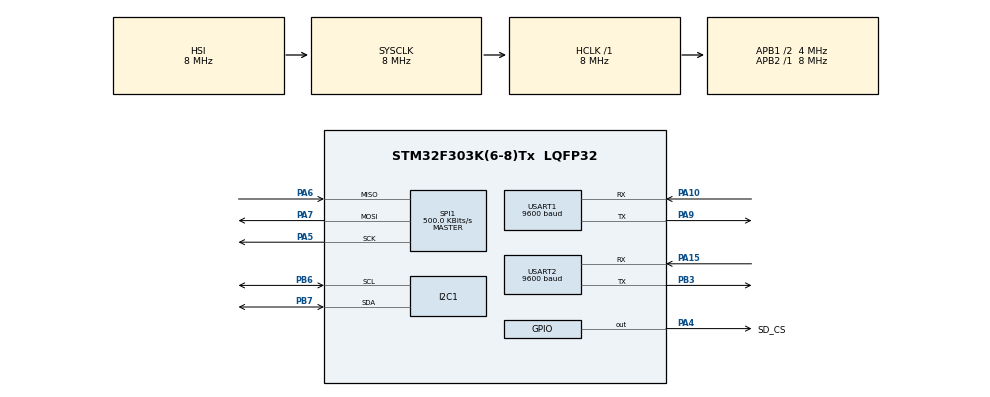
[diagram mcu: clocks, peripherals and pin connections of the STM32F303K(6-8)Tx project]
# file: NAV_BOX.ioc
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Dma.I2C1_RX.3.Direction=DMA_PERIPH_TO_MEMORY
Dma.I2C1_RX.3.Instance=DMA1_Channel3
Dma.I2C1_RX.3.MemDataAlignment=DMA_MDATAALIGN_BYTE
Dma.I2C1_RX.3.MemInc=DMA_MINC_ENABLE
Dma.I2C1_RX.3.Mode=DMA_NORMAL
Dma.I2C1_RX.3.PeriphDataAlignment=DMA_PDATAALIGN_BYTE
Dma.I2C1_RX.3.PeriphInc=DMA_PINC_DISABLE
Dma.I2C1_RX.3.Priority=DMA_PRIORITY_HIGH
Dma.I2C1_TX.4.Direction=DMA_MEMORY_TO_PERIPH
Dma.I2C1_TX.4.Instance=DMA1_Channel2
Dma.I2C1_TX.4.MemDataAlignment=DMA_MDATAALIGN_BYTE
Dma.I2C1_TX.4.MemInc=DMA_MINC_ENABLE
Dma.I2C1_TX.4.Mode=DMA_NORMAL
Dma.I2C1_TX.4.PeriphDataAlignment=DMA_PDATAALIGN_BYTE
Dma.I2C1_TX.4.PeriphInc=DMA_PINC_DISABLE
Dma.I2C1_TX.4.Priority=DMA_PRIORITY_LOW
Dma.Request0=USART1_RX
Dma.Request1=USART2_TX
Dma.Request2=USART2_RX
Dma.Request3=I2C1_RX
Dma.Request4=I2C1_TX
Dma.USART1_RX.0.Direction=DMA_PERIPH_TO_MEMORY
Dma.USART1_RX.0.Instance=DMA1_Channel5
Dma.USART1_RX.0.MemDataAlignment=DMA_MDATAALIGN_BYTE
Dma.USART1_RX.0.MemInc=DMA_MINC_ENABLE
Dma.USART1_RX.0.Mode=DMA_NORMAL
Dma.USART1_RX.0.PeriphDataAlignment=DMA_PDATAALIGN_BYTE
Dma.USART1_RX.0.PeriphInc=DMA_PINC_DISABLE
Dma.USART1_RX.0.Priority=DMA_PRIORITY_VERY_HIGH
Dma.USART2_RX.2.Direction=DMA_PERIPH_TO_MEMORY
Dma.USART2_RX.2.Instance=DMA1_Channel6
Dma.USART2_RX.2.MemDataAlignment=DMA_MDATAALIGN_BYTE
Dma.USART2_RX.2.MemInc=DMA_MINC_ENABLE
Dma.USART2_RX.2.Mode=DMA_NORMAL
Dma.USART2_RX.2.PeriphDataAlignment=DMA_PDATAALIGN_BYTE
Dma.USART2_RX.2.PeriphInc=DMA_PINC_DISABLE
Dma.USART2_RX.2.Priority=DMA_PRIORITY_LOW
Dma.USART2_TX.1.Direction=DMA_MEMORY_TO_PERIPH
Dma.USART2_TX.1.Instance=DMA1_Channel7
Dma.USART2_TX.1.MemDataAlignment=DMA_MDATAALIGN_BYTE
Dma.USART2_TX.1.MemInc=DMA_MINC_ENABLE
Dma.USART2_TX.1.Mode=DMA_NORMAL
Dma.USART2_TX.1.PeriphDataAlignment=DMA_PDATAALIGN_BYTE
Dma.USART2_TX.1.PeriphInc=DMA_PINC_DISABLE
Dma.USART2_TX.1.Priority=DMA_PRIORITY_LOW
FATFS._USE_FORWARD=1
FATFS._USE_LABEL=1
I2C1.Timing=0x00201D2B
Mcu.Family=STM32F3
Mcu.Name=STM32F303K(6-8)Tx
Mcu.Package=LQFP32
NVIC.DMA1_Channel2_IRQn=true\:0\:0\:false\:false\:true\:false\:true\:true
NVIC.DMA1_Channel3_IRQn=true\:0\:0\:false\:false\:true\:false\:true\:true
NVIC.DMA1_Channel5_IRQn=true\:0\:0\:false\:false\:true\:false\:true\:true
NVIC.DMA1_Channel6_IRQn=true\:0\:0\:false\:false\:true\:false\:true\:true
NVIC.DMA1_Channel7_IRQn=true\:0\:0\:false\:false\:true\:false\:true\:true
NVIC.I2C1_ER_IRQn=true\:0\:0\:false\:false\:true\:true\:true\:true
NVIC.I2C1_EV_IRQn=true\:0\:0\:false\:false\:true\:true\:true\:true
NVIC.PriorityGroup=NVIC_PRIORITYGROUP_4
NVIC.USART1_IRQn=true\:0\:0\:false\:false\:true\:true\:true\:true
NVIC.USART2_IRQn=true\:0\:0\:false\:false\:true\:true\:true\:true
PA10.Mode=Asynchronous
PA10.Signal=USART1_RX
PA13.GPIO_Label=SWDIO
PA13.Mode=Serial_Wire
PA13.Signal=SYS_JTMS-SWDIO
PA14.GPIO_Label=SWCLK
PA14.Mode=Serial_Wire
PA14.Signal=SYS_JTCK-SWCLK
PA15.Mode=Asynchronous
PA15.Signal=USART2_RX
PA4.GPIO_Label=SD_CS
PA4.GPIO_PuPd=GPIO_PULLDOWN
PA4.Signal=GPIO_Output
PA5.Mode=Full_Duplex_Master
PA5.Signal=SPI1_SCK
PA6.Mode=Full_Duplex_Master
PA6.Signal=SPI1_MISO
PA7.Mode=Full_Duplex_Master
PA7.Signal=SPI1_MOSI
PA9.Mode=Asynchronous
PA9.Signal=USART1_TX
PB3.Mode=Asynchronous
PB3.Signal=USART2_TX
PB6.Mode=I2C
PB6.Signal=I2C1_SCL
PB7.Mode=I2C
PB7.Signal=I2C1_SDA
PF0\ /\ OSC_IN.GPIO_Label=MCO
PF0\ /\ OSC_IN.Mode=HSE-External-Oscillator
PF0\ /\ OSC_IN.Signal=RCC_OSC_IN
PF1\ /\ OSC_OUT.Mode=HSE-External-Oscillator
PF1\ /\ OSC_OUT.Signal=RCC_OSC_OUT
ProjectManager.HeapSize=0x200
ProjectManager.StackSize=0x400
ProjectManager.TargetToolchain=STM32CubeIDE
RCC.AHBFreq_Value=8000000
RCC.APB1CLKDivider=RCC_HCLK_DIV2
RCC.APB1Freq_Value=4000000
RCC.APB1TimFreq_Value=8000000
RCC.APB2Freq_Value=8000000
RCC.APB2TimFreq_Value=8000000
RCC.CortexFreq_Value=8000000
RCC.HCLKFreq_Value=8000000
RCC.HSE_VALUE=8000000
RCC.HSI_VALUE=8000000
RCC.PLLMUL=RCC_PLL_MUL9
RCC.PLLSourceVirtual=RCC_PLLSOURCE_HSE
RCC.SYSCLKFreq_VALUE=8000000
SPI1.BaudRatePrescaler=SPI_BAUDRATEPRESCALER_16
SPI1.CLKPolarity=SPI_POLARITY_LOW
SPI1.CalculateBaudRate=500.0 KBits/s
SPI1.DataSize=SPI_DATASIZE_8BIT
SPI1.Direction=SPI_DIRECTION_2LINES
SPI1.Mode=SPI_MODE_MASTER
SPI1.VirtualType=VM_MASTER
USART1.BaudRate=9600
USART1.VirtualMode-Asynchronous=VM_ASYNC
USART2.BaudRate=9600
USART2.VirtualMode-Asynchronous=VM_ASYNC
VP_CRC_VS_CRC.Mode=CRC_Activate
VP_FATFS_VS_Generic.Mode=User_defined
board=NUCLEO-F303K8

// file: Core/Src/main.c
/* USER CODE BEGIN Header */
/**
 ******************************************************************************
 * @file           : main.c
 * @brief          : Main program body
 ******************************************************************************
 * @attention
 *
 * Copyright (c) 2025 STMicroelectronics.
 * All rights reserved.
 *
 * This software is licensed under terms that can be found in the LICENSE file
 * in the root directory of this software component.
 * If no LICENSE file comes with this software, it is provided AS-IS.
 *
 ******************************************************************************
 */
/* USER CODE END Header */
#include "main.h"

/* USER CODE BEGIN Includes */
//#include "string.h"
//#include "stdbool.h"
#include "stdlib.h"
#include "stdio.h"
#include <stdio.h>
#include <string.h>

//include netbuilt librarys
//#include "nmea_parse.h"
#include "bno055.h"
#include "bmp180_for_stm32_hal.h"
#include "ubx_nav_sol.h"
#include "nslp_dma.h"
#include "micros.h"

//homebrewed libraries
#include "nslp_packets.h"
#include "sd_black_box.h"

//#include <math.h>

/* USER CODE END Includes */

/* USER CODE BEGIN PD */
//#define SD_SPI_HANDLE hspi1
/* USER CODE END PD */

CRC_HandleTypeDef hcrc;

I2C_HandleTypeDef hi2c1;
DMA_HandleTypeDef hdma_i2c1_rx;
DMA_HandleTypeDef hdma_i2c1_tx;

SPI_HandleTypeDef hspi1;

UART_HandleTypeDef huart1;
UART_HandleTypeDef huart2;
DMA_HandleTypeDef hdma_usart1_rx;
DMA_HandleTypeDef hdma_usart2_tx;
DMA_HandleTypeDef hdma_usart2_rx;

/* USER CODE BEGIN PV */
//-------------------------DEBUG--------------------
uint8_t d_checker;

//-------------------------------BMP180---------------------------------------------
float temperature;
int32_t pressure;
uint32_t BMP180_time;
#define BMP180_interval 1000 // 1 second interval in milliseconds
bool to_send_BMP180_nslp_flag = false;
//-------------------------------BMP180---------------------------------------------

//-------------------------------BNO055---------------------------------------------
bno055_t bno;

bno055_vec3_t accel;
bno055_vec3_t filtered_accel;
bno055_vec4_t quat;
bno055_euler_t euler;

int32_t BNO055_timeStamp; //timestamp of the frame that was last parsed
uint32_t bno_i2c_errors; //failed BNO055 I2C transactions (frame skipped, nothing to log), for debugging

bool to_send_imu_nslp_flag = false;

//-------------------------------BNO055---------------------------------------------

//-------------------------------GPS------------------------------------------------
#define rx_buffer_size 60 //GPS uart 1 recieve NAV-SOL packed size
uint8_t rx_buffer[rx_buffer_size]; //size of data recieved from GPS
UBX_NavSol rawData; //raw gps data from parsing the rx_buffer
UBX_NavSolData solData; // organized and converted gps data
uint32_t GPS_timeStamp; //timestamp of processing

bool gps_dma_data_ready = false;
bool to_send_gps_nslp_flag = false;
//-------------------------------GPS------------------------------------------------

//--------------------------NSLP----------------------------------------------------
/*
 * Match this to recieving end of NSLP debugger
 * Software: -->NSLP Trace<--
 *
 *It this struct define the data you want to send from the STM machine
 */
nslp_instance_t nslp;
//uint8_t tx_buffer[sizeof(struct Position)]; //transmission size of message
//--------------------------NSLP--------------------------------------------

//---------------------------SD CARD----------------------------
char log_filename[64] = "DATA_LOG"; // Default log filename
char sd_gps_buffer[128]; // Buffer for GPS data to be written to SD card
//%G,Time,Timestamp,FixType,NumSV,Lat,Lon,Alt
bool sd_gps_store_flag = false;
char sd_bmp_buffer[128]; // Buffer for BMP180 data to be written to SD card
//%B,Temp,Press,Timestamp
bool sd_bmp_store_flag = false;
char sd_bno_buffer[128]; // Buffer for BNO055 data to be written to SD cardy
//%I,Ax,Ay,Az,Gx,Gy,Gz,Timestamp
bool sd_bno_store_flag = false;
//---------------------------SD CARD----------------------------

/* USER CODE END PV */

void SystemClock_Config(void);
static void MX_GPIO_Init(void);
static void MX_DMA_Init(void);
static void MX_USART1_UART_Init(void);
static void MX_USART2_UART_Init(void);
static void MX_I2C1_Init(void);
static void MX_CRC_Init(void);
static void MX_SPI1_Init(void);
/* USER CODE BEGIN PFP */

//----------------------------------INTERUPTS FUNCTIONS---------------------------------------------
//The BNO055 is read with blocking I2C transactions (see bno_read_frame), no I2C DMA callbacks are needed.

void HAL_UART_ErrorCallback(UART_HandleTypeDef *huart) {
	nslp_uart_error_handler(huart);
}

void HAL_UARTEx_RxEventCallback(UART_HandleTypeDef *huart, uint16_t Size) {

  //gps uart handler
	if (huart->Instance == USART1)//Check which interupt was triggered for / on uart1 line connected to GPS
	{
		GPS_timeStamp = HAL_GetTick();
    /*
      check if are still parsing last packet
      only clear flag to reparse if last packet had been parsed
    */
    if (gps_dma_data_ready == false) {
      gps_dma_data_ready = true;

      //if LAST package had not been parsed yet, this is an ERROR !!!
    }

		/* restart the DMA  */
		HAL_UARTEx_ReceiveToIdle_DMA(&huart1, (uint8_t *) rx_buffer, sizeof(rx_buffer)); //Restart interupt
		__HAL_DMA_DISABLE_IT(&hdma_usart1_rx, DMA_IT_HT); //Dont interupt on half buffer
	}

  //seperate nslp handler
	nslp_uart_rx_event_handler(huart, Size);
}

void HAL_UART_TxCpltCallback(UART_HandleTypeDef *huart){
	nslp_uart_tx_cplt_handler(huart);
}

//------------------------------USER FUNCTIONS------------------------------

/*
  BNO055 read: one blocking 2-byte transaction per 16-bit value (euler + linear accel).

  Reading the output registers as one 45-byte burst (the old DMA read) returned bit 7 of some bytes
  as 0 in 3-6 % of the frames (registers 0x1C, 0x2A, 0x2C, e.g. +327.68 m/s^2, +2048 deg, -8 deg).
  Neither I2C speed, filters, pull-ups, DMA vs polling nor activity of the other peripherals changed that,
  but 1- and 2-byte transactions gave 0 errors in > 17000 frames. Burst sizes of 6 bytes or more are not clean.
  Offsets are relative to BNO_ACC_DATA_X_LSB (index into bno.rx_buf, same layout the bno055_get_* getters use).
*/
static const uint8_t bno_word_offset[] = {
	18, //euler heading (yaw)
	20, //euler roll
	22, //euler pitch
	32, //linear accel x
	34, //linear accel y
	36  //linear accel z
};

static bool bno_read_frame(void){
	for (uint32_t i = 0; i < sizeof(bno_word_offset); i++) {
		uint8_t off = bno_word_offset[i];
		if (HAL_I2C_Mem_Read(&hi2c1, bno.addr, (uint16_t)(BNO_ACC_DATA_X_LSB + off), I2C_MEMADD_SIZE_8BIT, &bno.rx_buf[off], 2, 100) != HAL_OK) {
			return false;
		}
	}
	return true;
}

void parse_bno055_data(){
//Data acquisition only: every frame is stored exactly as the BNO055 delivered it, no filtering or rejection

	if (!bno_read_frame()) {
		bno_i2c_errors++; //I2C transaction failed (HAL resets the bus state itself), nothing valid to log this pass
		return;
	}

	BNO055_timeStamp = HAL_GetTick(); //time the frame was read

	bno055_get_linear_acc(&bno, &accel);
	bno055_get_euler(&bno, &euler);

	to_send_imu_nslp_flag = true;

	sd_bno_store_flag = true; // Set flag to store BNO055 data to SD card
}

void poll_n_parse_bmp180_data(){
//reads pressure and temperature from BMP180 sensor every BMP180_interval
  static uint32_t lastBMP180Time = 0;

  if (HAL_GetTick() - lastBMP180Time > BMP180_interval){

      //hi2c1 is shared with the BNO055, both are blocking transactions from this main loop so they never overlap
      temperature = BMP180_GetTemperature(); //degrees Celsius
      pressure = BMP180_GetPressure(); //Pascal

      lastBMP180Time = HAL_GetTick();
      BMP180_time = lastBMP180Time;

      to_send_BMP180_nslp_flag = true;
      sd_bmp_store_flag = true; // Set flag to store BMP180 data to SD card
  }
}

void parse_gps_data(){
/*
  Parses gps data after recieved_GPS_flag flag is cleared
  parsed gps data is stored in -> solData <-
*/

	if(gps_dma_data_ready == true){

		//parse check rx_buffer to usefull navigation data
      uint8_t parsecheck = UBX_ParseNavSolFrame(rx_buffer, sizeof(rx_buffer), &rawData, &solData);

		//----------------------FLAGS----------------------
      //clear flag for recieving new GPS data
      gps_dma_data_ready = false;
      sd_gps_store_flag = true; // Set flag to store GPS data to SD card (every packet, with or without a fix)
      to_send_gps_nslp_flag = true; //set flag to send gps data via NSLP
	}
}

void nslp_transmit_packets(){
/*
  transmits NSLP packets
  using nslp_min_delay for optimization of transmition time
*/

  //pass the parsed data to Position pos packet frame
  GPS_nslp_data.latitude = solData.latitude_deg;
  GPS_nslp_data.longitude = solData.longitude_deg;
  GPS_nslp_data.altitude = solData.height_m;
  GPS_nslp_data.fixType = solData.gpsFix;
  GPS_nslp_data.numSV = solData.numSV;
  GPS_nslp_data.time = GPS_timeStamp;

// Copy filtered accelerometer data to transmission structure
  BNO055_nslp_data_a.ax = accel.x;
  BNO055_nslp_data_a.ay = accel.y;
  BNO055_nslp_data_a.az = accel.z;
  BNO055_nslp_data_a.time = BNO055_timeStamp;

  BNO055_nslp_data_g.gx = euler.pitch;
  BNO055_nslp_data_g.gy = euler.roll;
  BNO055_nslp_data_g.gz = euler.yaw;
  BNO055_nslp_data_g.time = BNO055_timeStamp;

  //write data to NSLP payload
  BMP_nslp_data.temp = temperature;
  BMP_nslp_data.press = pressure;
  BMP_nslp_data.time = BMP180_time;

  static uint32_t lastTime = 0;

  //------------------------------NSLP setup for optimal comunication interval-----------------------------------
  if (HAL_GetTick() - lastTime > nslp_min_delay(&nslp)){

    //-----------------------------Send packets for NSLP----------------- START

    if((to_send_gps_nslp_flag == true)){  // Only send GPS packet if new GPS data has been parsed and is ready
      nslp_send_packet(&nslp, &GPS_packet);
      to_send_gps_nslp_flag = false;
    }

        if(to_send_imu_nslp_flag == true){
        nslp_send_packet(&nslp, &BNO_packet_a);
        nslp_send_packet(&nslp, &BNO_packet_g);
        to_send_imu_nslp_flag = false;
    }

    if(to_send_BMP180_nslp_flag == true){
        nslp_send_packet(&nslp, &BMP_packet);
        to_send_BMP180_nslp_flag = false;
    }

    // nslp_send_packet(&nslp, &POS_fusion_packet);
    //-----------------------------Send packets for NSLP----------------- END
    lastTime = HAL_GetTick();
  }
}

void sd_store(){
  uint8_t check = 0;

  if(sd_gps_store_flag == true){
    sd_gps_store_flag = false;
    snprintf(sd_gps_buffer, sizeof(sd_gps_buffer),
    "G,%d,%d,%d,%f,%f,%f \r\n",
    GPS_timeStamp, solData.gpsFix, solData.numSV, solData.latitude_deg, solData.longitude_deg, solData.height_m
    );
    //%G,Time,Timestamp,FixType,NumSV,Lat,Lon,Alt
    check = sd_card_write((const uint8_t *)sd_gps_buffer, strlen(sd_gps_buffer));
  }

  if(sd_bno_store_flag == true){
    sd_bno_store_flag = false;
    snprintf(sd_bno_buffer, sizeof(sd_bno_buffer), "I,%f,%f,%f,%f,%f,%f,%d \r\n", accel.x, accel.y, accel.z, euler.pitch, euler.roll, euler.yaw, BNO055_timeStamp);
    //%I,Ax,Ay,Az,Gx,Gy,Gz,Timestamp
    check = sd_card_write((const uint8_t *)sd_bno_buffer, strlen(sd_bno_buffer));
  }

  if(sd_bmp_store_flag == true){
    sd_bmp_store_flag = false;
    snprintf(sd_bmp_buffer, sizeof(sd_bmp_buffer), //%G,Time,Timestamp,FixType,NumSV,Lat,Lon,Alt
    "B,%f,%ld,%d \r\n",
    temperature, pressure, BMP180_time);
    //%B,Temp,Press,Timestamp
    check = sd_card_write((const uint8_t *)sd_bmp_buffer, strlen(sd_bmp_buffer));
  }

  if(check != 0){
    // Handle error in writing to SD card
    // You can add error handling code here, such as logging the error or retrying the write operation
	  //d_checker = check;
  }
}

void process_sensor_fusion(){
  /*
    Code implementation for Kalman filter data proccesing
  */
}

/* USER CODE END PFP */

int main(void)
{

  /* MCU Configuration--------------------------------------------------------*/

  /* Reset of all peripherals, Initializes the Flash interface and the Systick. */
  HAL_Init();

  /* Configure the system clock */
  SystemClock_Config();

  /* Initialize all configured peripherals */
  MX_GPIO_Init();
  MX_DMA_Init();
  MX_USART1_UART_Init();
  MX_USART2_UART_Init();
  MX_I2C1_Init();
  MX_CRC_Init();
  MX_SPI1_Init();
  MX_FATFS_Init();
  /* USER CODE BEGIN 2 */

  //innitialize library for time measurement in micros
	  DWT_Init();

	//------------------------NSLP CODE------------------------
	  nslp_init(&nslp, &huart2, &hcrc, 16, 0xAA);
	//------------------------NSLP CODE------------------------

	//----------------initialize DMA on uart1, rx for GPS-----------
    __HAL_DMA_ENABLE_IT(&hdma_usart1_rx, DMA_IT_TC | DMA_IT_HT);
    HAL_UARTEx_ReceiveToIdle_DMA(&huart1, (uint8_t *) rx_buffer, sizeof(rx_buffer));
    __HAL_DMA_DISABLE_IT(&hdma_usart1_rx,DMA_IT_HT); //DMA half transfer interupt

	//-----------Initializes BMP180 sensor and oversampling settings.------------
    BMP180_Init(&hi2c1);
  	BMP180_SetOversampling(BMP180_STANDARD); //BMP180_LOW, BMP180_STANDARD, BMP180_HIGH, BMP180_ULTRA,
	// Update calibration data. Must be called once before entering main loop.
	/*
	  The first I2C transaction after a reset sometimes fails and BMP180_ReadReg() then returns an
	  uninitialised byte (seen as a wrong AC1 on 2 of 6 boots -> pressure off by ~16 kPa for the whole run).
	  Discard a warm-up read, then read until two consecutive reads are identical.
	*/
	  BMP180_UpdateCalibrationData();
	  for (int attempt = 0; attempt < 10; attempt++) {
	    BMP180_EEPROM previous_cal = _bmp180_eeprom;
	    BMP180_UpdateCalibrationData();
	    if (memcmp(&previous_cal, &_bmp180_eeprom, sizeof(previous_cal)) == 0) {
	      break;
	    }
	  }

	//-----------innitialize BNO055 DMA on I2C------------
    bno.i2c = &hi2c1;
    bno.addr = BNO_ADDR_ALT;
    bno.mode = BNO_MODE_NDOF;
    HAL_Delay(500);
    if (bno055_init(&bno) != BNO_OK) {
      uint32_t BNO_timeout = 0;
      BNO_timeout = HAL_GetTick();
      while (HAL_GetTick() - BNO_timeout < 5000) { //wait for 5 seconds before trying to initialize again
        if (bno055_init(&bno) == BNO_OK) {
          break; //break loop if initialization is successful
        }
      }
    }

  //Set BNO055 units
    bno055_set_unit(&bno, BNO_TEMP_UNIT_C, BNO_GYR_UNIT_DPS, BNO_ACC_UNITSEL_M_S2, BNO_EUL_UNIT_DEG);

  //------------------------TEST SD CARD WRITE------------------------
    //test_sd_card_write(&huart2);

  //------------------------SD CARD INNIT-----------------------------
    sd_card_init(log_filename);

  /* USER CODE END 2 */

  /* Infinite loop */
  /* USER CODE BEGIN WHILE */
	while (1)
	{
		parse_gps_data();
		parse_bno055_data();
		poll_n_parse_bmp180_data();
		nslp_transmit_packets();
		sd_store();

    /* USER CODE END WHILE */

	}
}

void SystemClock_Config(void)
{
  RCC_OscInitTypeDef RCC_OscInitStruct = {0};
  RCC_ClkInitTypeDef RCC_ClkInitStruct = {0};
  RCC_PeriphCLKInitTypeDef PeriphClkInit = {0};

  /** Initializes the RCC Oscillators according to the specified parameters
  * in the RCC_OscInitTypeDef structure.
  */
  RCC_OscInitStruct.OscillatorType = RCC_OSCILLATORTYPE_HSI;
  RCC_OscInitStruct.HSIState = RCC_HSI_ON;
  RCC_OscInitStruct.HSICalibrationValue = RCC_HSICALIBRATION_DEFAULT;
  RCC_OscInitStruct.PLL.PLLState = RCC_PLL_NONE;
  if (HAL_RCC_OscConfig(&RCC_OscInitStruct) != HAL_OK)
  {
    Error_Handler();
  }

  /** Initializes the CPU, AHB and APB buses clocks
  */
  RCC_ClkInitStruct.ClockType = RCC_CLOCKTYPE_HCLK|RCC_CLOCKTYPE_SYSCLK
                              |RCC_CLOCKTYPE_PCLK1|RCC_CLOCKTYPE_PCLK2;
  RCC_ClkInitStruct.SYSCLKSource = RCC_SYSCLKSOURCE_HSI;
  RCC_ClkInitStruct.AHBCLKDivider = RCC_SYSCLK_DIV1;
  RCC_ClkInitStruct.APB1CLKDivider = RCC_HCLK_DIV2;
  RCC_ClkInitStruct.APB2CLKDivider = RCC_HCLK_DIV1;

  if (HAL_RCC_ClockConfig(&RCC_ClkInitStruct, FLASH_LATENCY_0) != HAL_OK)
  {
    Error_Handler();
  }
  PeriphClkInit.PeriphClockSelection = RCC_PERIPHCLK_USART1|RCC_PERIPHCLK_I2C1;
  PeriphClkInit.Usart1ClockSelection = RCC_USART1CLKSOURCE_PCLK1;
  PeriphClkInit.I2c1ClockSelection = RCC_I2C1CLKSOURCE_HSI;
  if (HAL_RCCEx_PeriphCLKConfig(&PeriphClkInit) != HAL_OK)
  {
    Error_Handler();
  }
}

static void MX_CRC_Init(void)
{

  hcrc.Instance = CRC;
  hcrc.Init.DefaultPolynomialUse = DEFAULT_POLYNOMIAL_ENABLE;
  hcrc.Init.DefaultInitValueUse = DEFAULT_INIT_VALUE_ENABLE;
  hcrc.Init.InputDataInversionMode = CRC_INPUTDATA_INVERSION_NONE;
  hcrc.Init.OutputDataInversionMode = CRC_OUTPUTDATA_INVERSION_DISABLE;
  hcrc.InputDataFormat = CRC_INPUTDATA_FORMAT_BYTES;
  if (HAL_CRC_Init(&hcrc) != HAL_OK)
  {
    Error_Handler();
  }

}

static void MX_I2C1_Init(void)
{

  hi2c1.Instance = I2C1;
  hi2c1.Init.Timing = 0x00201D2B;
  hi2c1.Init.OwnAddress1 = 0;
  hi2c1.Init.AddressingMode = I2C_ADDRESSINGMODE_7BIT;
  hi2c1.Init.DualAddressMode = I2C_DUALADDRESS_DISABLE;
  hi2c1.Init.OwnAddress2 = 0;
  hi2c1.Init.OwnAddress2Masks = I2C_OA2_NOMASK;
  hi2c1.Init.GeneralCallMode = I2C_GENERALCALL_DISABLE;
  hi2c1.Init.NoStretchMode = I2C_NOSTRETCH_DISABLE;
  if (HAL_I2C_Init(&hi2c1) != HAL_OK)
  {
    Error_Handler();
  }

  /** Configure Analogue filter
  */
  if (HAL_I2CEx_ConfigAnalogFilter(&hi2c1, I2C_ANALOGFILTER_ENABLE) != HAL_OK)
  {
    Error_Handler();
  }

  /** Configure Digital filter
  */
  if (HAL_I2CEx_ConfigDigitalFilter(&hi2c1, 0) != HAL_OK)
  {
    Error_Handler();
  }

}

static void MX_SPI1_Init(void)
{

  /* SPI1 parameter configuration*/
  hspi1.Instance = SPI1;
  hspi1.Init.Mode = SPI_MODE_MASTER;
  hspi1.Init.Direction = SPI_DIRECTION_2LINES;
  hspi1.Init.DataSize = SPI_DATASIZE_8BIT;
  hspi1.Init.CLKPolarity = SPI_POLARITY_LOW;
  hspi1.Init.CLKPhase = SPI_PHASE_1EDGE;
  hspi1.Init.NSS = SPI_NSS_SOFT;
  hspi1.Init.BaudRatePrescaler = SPI_BAUDRATEPRESCALER_16;
  hspi1.Init.FirstBit = SPI_FIRSTBIT_MSB;
  hspi1.Init.TIMode = SPI_TIMODE_DISABLE;
  hspi1.Init.CRCCalculation = SPI_CRCCALCULATION_DISABLE;
  hspi1.Init.CRCPolynomial = 7;
  hspi1.Init.CRCLength = SPI_CRC_LENGTH_DATASIZE;
  hspi1.Init.NSSPMode = SPI_NSS_PULSE_ENABLE;
  if (HAL_SPI_Init(&hspi1) != HAL_OK)
  {
    Error_Handler();
  }

}

static void MX_USART1_UART_Init(void)
{

  huart1.Instance = USART1;
  huart1.Init.BaudRate = 9600;
  huart1.Init.WordLength = UART_WORDLENGTH_8B;
  huart1.Init.StopBits = UART_STOPBITS_1;
  huart1.Init.Parity = UART_PARITY_NONE;
  huart1.Init.Mode = UART_MODE_TX_RX;
  huart1.Init.HwFlowCtl = UART_HWCONTROL_NONE;
  huart1.Init.OverSampling = UART_OVERSAMPLING_16;
  huart1.Init.OneBitSampling = UART_ONE_BIT_SAMPLE_DISABLE;
  huart1.AdvancedInit.AdvFeatureInit = UART_ADVFEATURE_NO_INIT;
  if (HAL_UART_Init(&huart1) != HAL_OK)
  {
    Error_Handler();
  }

}

static void MX_USART2_UART_Init(void)
{

  huart2.Instance = USART2;
  huart2.Init.BaudRate = 9600;
  huart2.Init.WordLength = UART_WORDLENGTH_8B;
  huart2.Init.StopBits = UART_STOPBITS_1;
  huart2.Init.Parity = UART_PARITY_NONE;
  huart2.Init.Mode = UART_MODE_TX_RX;
  huart2.Init.HwFlowCtl = UART_HWCONTROL_NONE;
  huart2.Init.OverSampling = UART_OVERSAMPLING_16;
  huart2.Init.OneBitSampling = UART_ONE_BIT_SAMPLE_DISABLE;
  huart2.AdvancedInit.AdvFeatureInit = UART_ADVFEATURE_NO_INIT;
  if (HAL_UART_Init(&huart2) != HAL_OK)
  {
    Error_Handler();
  }

}

static void MX_DMA_Init(void)
{

  /* DMA controller clock enable */
  __HAL_RCC_DMA1_CLK_ENABLE();

  /* DMA interrupt init */
  /* DMA1_Channel2_IRQn interrupt configuration */
  HAL_NVIC_SetPriority(DMA1_Channel2_IRQn, 0, 0);
  HAL_NVIC_EnableIRQ(DMA1_Channel2_IRQn);
  /* DMA1_Channel3_IRQn interrupt configuration */
  HAL_NVIC_SetPriority(DMA1_Channel3_IRQn, 0, 0);
  HAL_NVIC_EnableIRQ(DMA1_Channel3_IRQn);
  /* DMA1_Channel5_IRQn interrupt configuration */
  HAL_NVIC_SetPriority(DMA1_Channel5_IRQn, 0, 0);
  HAL_NVIC_EnableIRQ(DMA1_Channel5_IRQn);
  /* DMA1_Channel6_IRQn interrupt configuration */
  HAL_NVIC_SetPriority(DMA1_Channel6_IRQn, 0, 0);
  HAL_NVIC_EnableIRQ(DMA1_Channel6_IRQn);
  /* DMA1_Channel7_IRQn interrupt configuration */
  HAL_NVIC_SetPriority(DMA1_Channel7_IRQn, 0, 0);
  HAL_NVIC_EnableIRQ(DMA1_Channel7_IRQn);

}

static void MX_GPIO_Init(void)
{
  GPIO_InitTypeDef GPIO_InitStruct = {0};

  /* GPIO Ports Clock Enable */
  __HAL_RCC_GPIOF_CLK_ENABLE();
  __HAL_RCC_GPIOA_CLK_ENABLE();
  __HAL_RCC_GPIOB_CLK_ENABLE();

  /*Configure GPIO pin Output Level */
  HAL_GPIO_WritePin(SD_CS_GPIO_Port, SD_CS_Pin, GPIO_PIN_RESET);

  /*Configure GPIO pin : SD_CS_Pin */
  GPIO_InitStruct.Pin = SD_CS_Pin;
  GPIO_InitStruct.Mode = GPIO_MODE_OUTPUT_PP;
  GPIO_InitStruct.Pull = GPIO_PULLDOWN;
  GPIO_InitStruct.Speed = GPIO_SPEED_FREQ_LOW;
  HAL_GPIO_Init(SD_CS_GPIO_Port, &GPIO_InitStruct);

}

void Error_Handler(void)
{
	__disable_irq();
	while (1)
	{
	}
}
